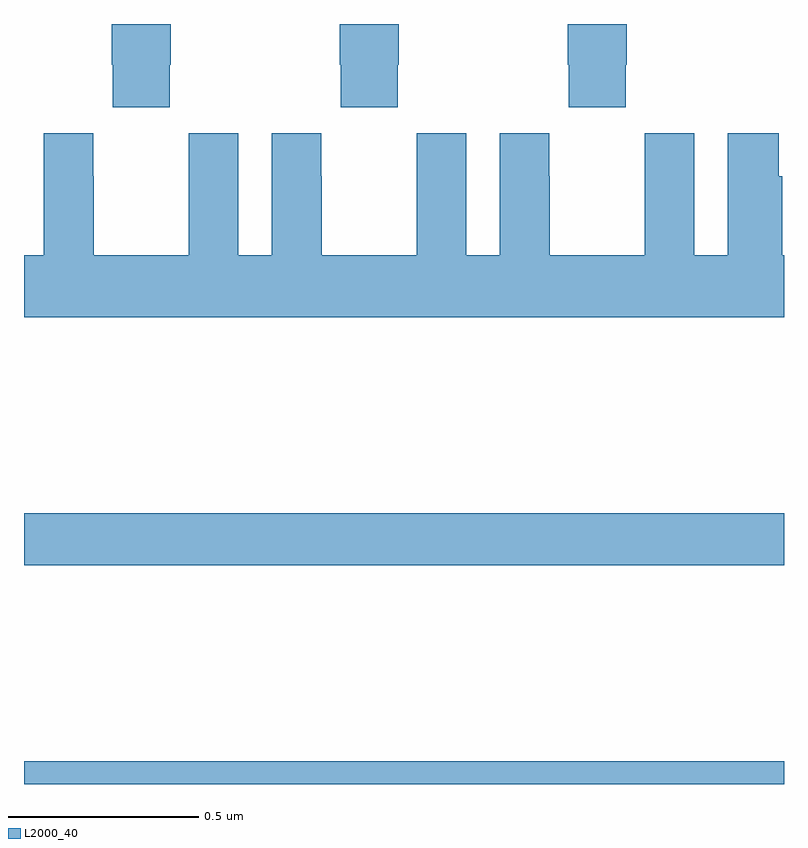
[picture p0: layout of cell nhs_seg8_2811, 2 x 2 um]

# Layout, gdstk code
import gdstk
lib = gdstk.Library(unit=1e-6, precision=1e-09)
def R(c, l, rs):  # rectangles x0, y0, x1, y1
    for r in rs: c.add(gdstk.rectangle(r[:2], r[2:], *l))
def P(c, l, *ps):  # polygons
    for p in ps: c.add(gdstk.Polygon(p, *l))
L2000_40 = (2000, 40)

nhs_seg8_2811 = lib.new_cell('nhs_seg8_2811')
R(nhs_seg8_2811, L2000_40, [(148,1153.9,150,1153.96), (148,1154.476,150,1154.612)])
P(nhs_seg8_2811, L2000_40, [(148.383,1155.793),(148.386,1155.793),(148.386,1155.9),(148.231,1155.9),(148.231,1155.793),(148.233,1155.793),(148.233,1155.681),(148.383,1155.681)],
  [(148.983,1155.793),(148.986,1155.793),(148.986,1155.9),(148.831,1155.9),(148.831,1155.793),(148.833,1155.793),(148.833,1155.681),(148.983,1155.681)],
  [(149.583,1155.793),(149.586,1155.793),(149.586,1155.9),(149.431,1155.9),(149.431,1155.793),(149.433,1155.793),(149.433,1155.681),(149.583,1155.681)],
  [(150,1155.292),(149.996,1155.292),(149.996,1155.5),(149.986,1155.5),(149.986,1155.613),(149.852,1155.613),(149.852,1155.292),(149.764,1155.292),(149.764,1155.613),(149.634,1155.613),(149.634,1155.5),(149.633,1155.5),(149.633,1155.292),(149.383,1155.292),(149.383,1155.5),(149.382,1155.5),(149.382,1155.613),(149.252,1155.613),(149.252,1155.292),(149.164,1155.292),(149.164,1155.613),(149.034,1155.613),(149.034,1155.5),(149.033,1155.5),(149.033,1155.292),(148.783,1155.292),(148.783,1155.5),(148.782,1155.5),(148.782,1155.613),(148.652,1155.613),(148.652,1155.292),(148.564,1155.292),(148.564,1155.613),(148.434,1155.613),(148.434,1155.5),(148.433,1155.5),(148.433,1155.292),(148.183,1155.292),(148.183,1155.5),(148.182,1155.5),(148.182,1155.613),(148.052,1155.613),(148.052,1155.292),(148,1155.292),(148,1155.128),(150,1155.128)])

lib.write_gds('nhs_seg8_2811.gds')
